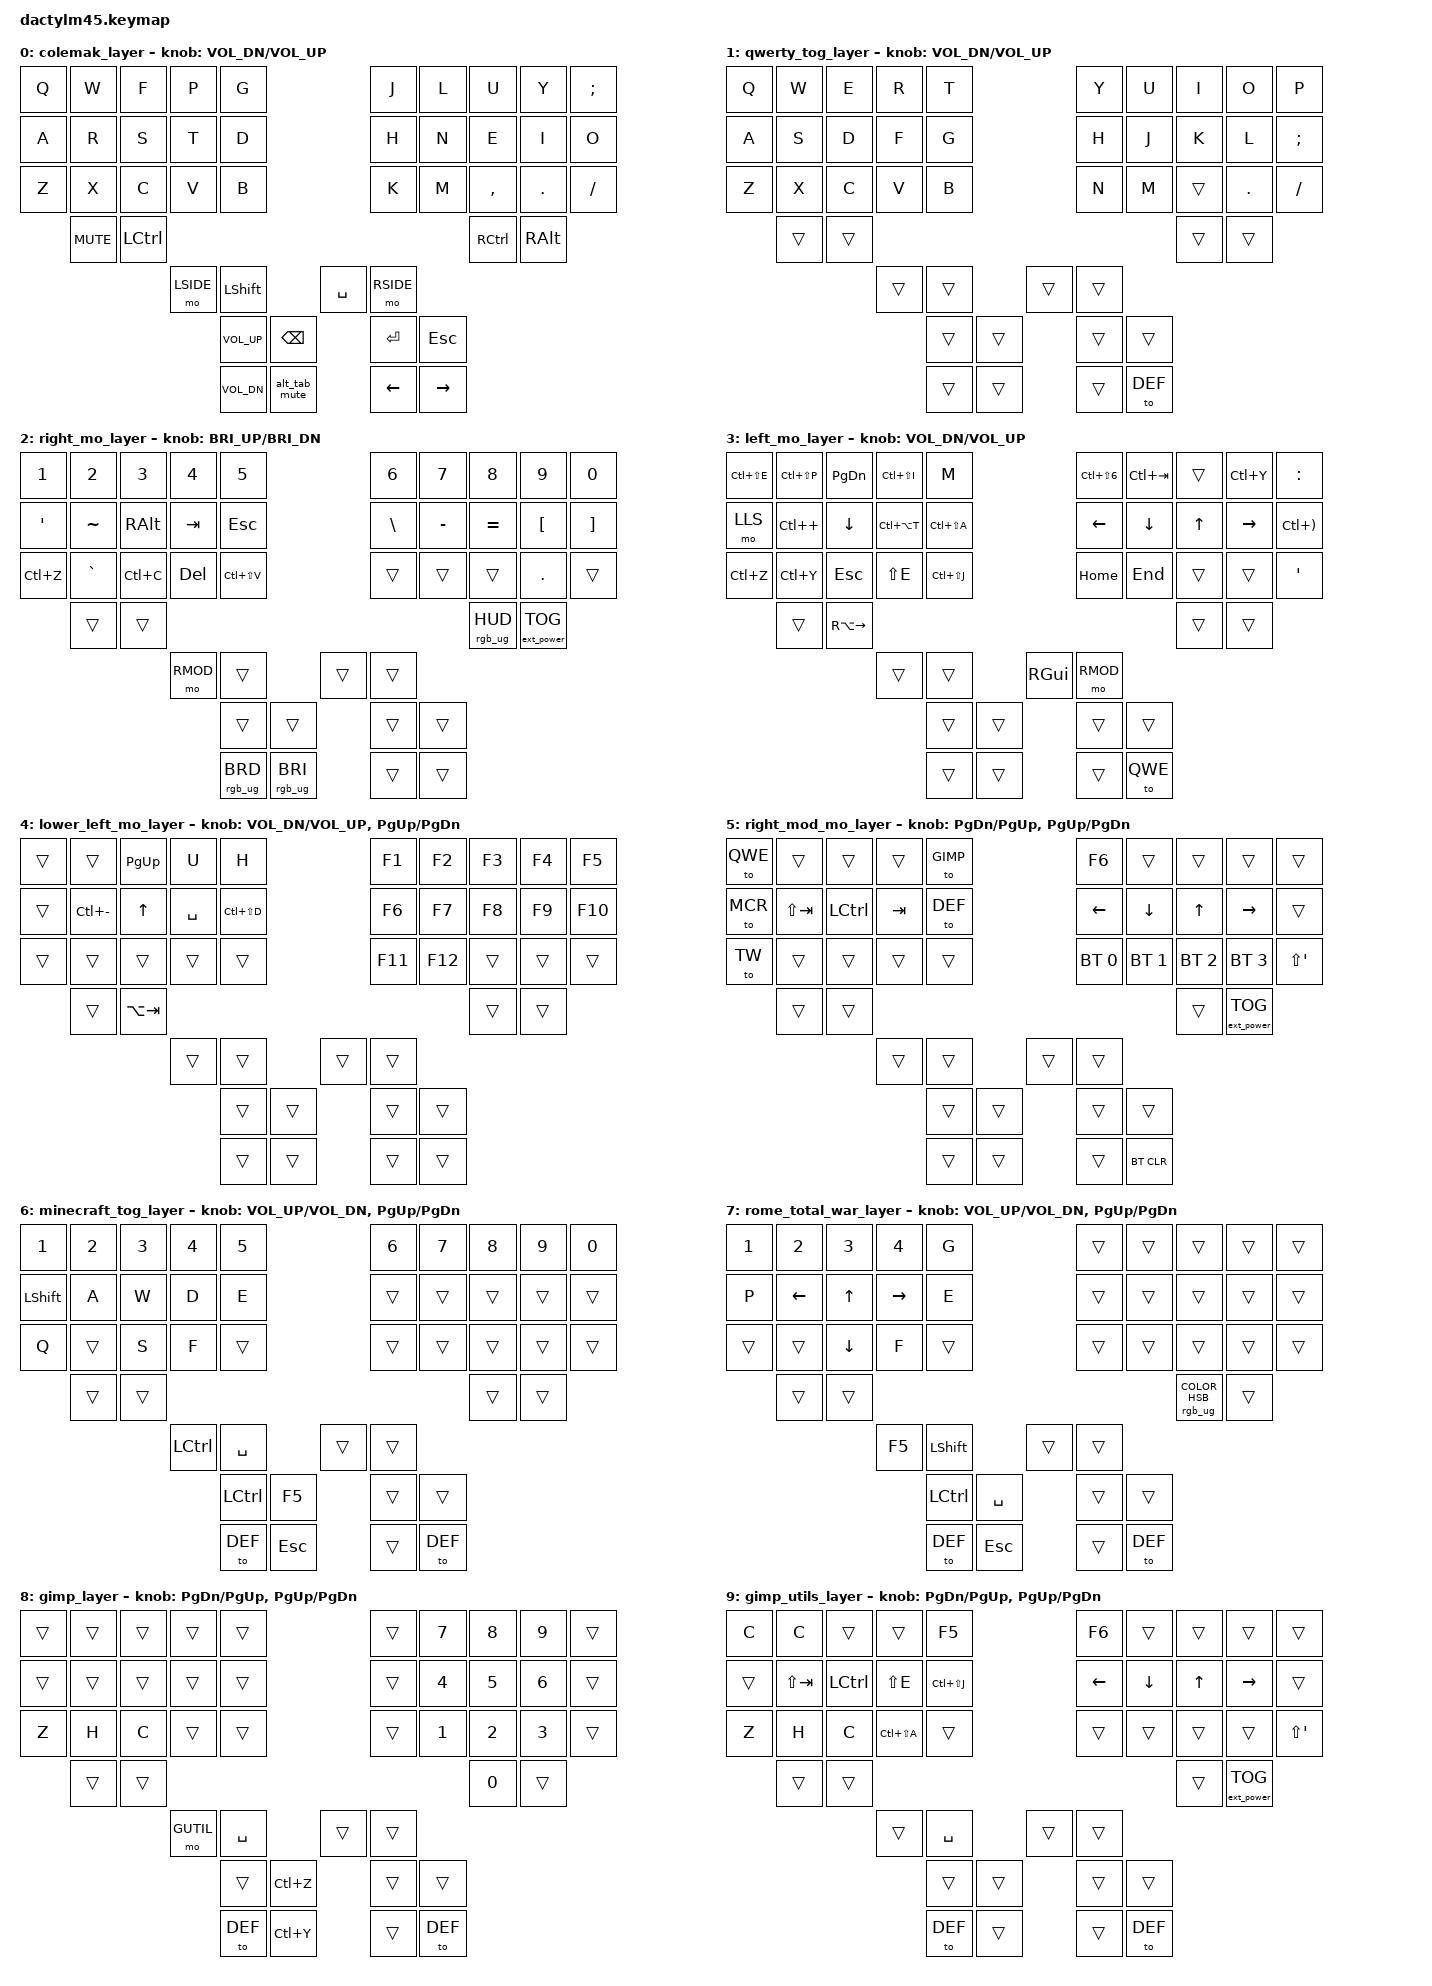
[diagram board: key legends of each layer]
/*
 * Copyright (c) 2020 The ZMK Contributors
 *
 * SPDX-License-Identifier: MIT
 * 
 * F5 refreshes window, F6 goes to URL, F11 full screen
 */

#include <behaviors.dtsi>
#include <dt-bindings/zmk/keys.h>
#include <dt-bindings/zmk/bt.h>
#include <dt-bindings/zmk/rgb.h>
#include <dt-bindings/zmk/ext_power.h>

//&kscan0 {
//  debounce-press-ms = <10>;
//  debounce-release-ms = <5>;
//};

#define DEF     0  // Line 61
#define QWE     1  // Line 83
#define RSIDE   2  // Line 105 
#define LSIDE   3  // Line 128
#define LLS     4  // Line 154
#define RMOD    5  // Line 176  access QWER, MCR, GIMP, WM here
#define MCR     6  // Line 198 
#define TW      7  // Line 220 Rome: Total war keys layer
#define GIMP    8  // Line 243
#define GUTIL   9  // Line 268

// combos Line 244
//#define QWER    2  // Line 84

//&lt { tapping-term-ms = <85>; };
//&mt { tapping-term-ms = <85>; };

/ {
  macros {
    alt_tab_mute: alt_tab_mute {
      compatible = "zmk,behavior-macro";
      #binding-cells = <0>;
      bindings
          = <&macro_tap &kp RA(TAB)>
          , <&macro_tap &kp C_MUTE>
          ;
    };
  };
};

/ {
// ----------------------------------------------------------------------------------------------------------------------------------
// |   0  |   1  |   2  |   3  |   4  |                                     |   5  |   6  |   7  |   8  |   9  |
// |  10  |  11  |  12  |  13  |  14  |                                     |  15  |  16  |  17  |  18  |  19  |
// |  20  |  21  |  22  |  23  |  24  |                                     |  25  |  26  |  27  |  28  |  29  |
//        |  30  |  31  |                                                                 |  32  |  33  |                          
//                      |  34  |  35  |                                     |  36  |  37  |                                            
//                                    |  38  |  39  |         |  40  |  41  |                                                         
//                                    |  42  |  43  |         |  44  |  45  |                                         

	keymap {
		compatible = "zmk,keymap";

		colemak_layer {
// ---------------------------------------------------------------------------------------------------------------------------------
// |  Q  |  W  |  F  |  P  |  G  |                                            |  J  |  L   |  U   |  Y  |  ;  |
// |  A  |  R  |  S  |  T  |  D  |                                            |  H  |  N   |  E   |  I  |  O  |
// |  Z  |  X  |  C  |  V  |  B  |                                            |  K  |  M   |  ,   |  .  |  /  |
//       | MUTE| CTRL|                                                                   | CTRL | RALT|
//                    | LSIDE | SHIFT |                                       | SPACE| RSIDE |
//                                   | VOL UP |  BSPC  |           | RET    |    ESC   |
//                                   | VOL DN | A(TAB) |           | LARROW |  RARROW  |
			bindings = <
	&kp Q &kp W      &kp F     &kp P      &kp G                               &kp J     &kp L    &kp U      &kp Y   &kp SEMI
	&kp A &kp R      &kp S     &kp T      &kp D                               &kp H     &kp N    &kp E      &kp I   &kp O   
	&kp Z &kp X      &kp C     &kp V      &kp B                               &kp K     &kp M    &kp COMMA  &kp DOT &kp FSLH 
        &kp C_MUTE &kp LCTRL                                                                   &kp RCTRL  &kp RALT
                            &mo LSIDE   &kp LSHFT                    &kp SPACE &mo RSIDE  
                                      &kp C_VOL_UP   &kp BSPC        &kp RET          &kp ESC 
                                      &kp C_VOL_DN   &alt_tab_mute   &kp LEFT_ARROW  &kp RIGHT_ARROW
			>;

			sensor-bindings = <&inc_dec_kp C_VOL_DN C_VOL_UP>;
		};

		qwerty_tog_layer {
// ---------------------------------------------------------------------------------------------------------------------------------
// |  Q  |  W  |  E   |  R   |  T   |                                          |  Y   |  U    |  I    |  O   |   P   |  
// |  A  |  S  |  D   |  F   |  G   |                                          |  H   |  J    |  K    |  L   |   ;   | 
// |  Z  |  X  |  C   |  V   |  B   |                                          |  N   |  M    |  ,    |  .   |   /   |
//       |     |      |                                                                       |       |      |
//                    |      |      |                                          |      |       |
//                                  |     |     |               |     |         |
//                                  |     |     |               |     |   DEF   |
			bindings = <
	&kp Q &kp W   &kp E  &kp R  &kp T                                         &kp Y  &kp U  &kp I    &kp O   &kp P   
	&kp A &kp S   &kp D  &kp F  &kp G                                         &kp H  &kp J  &kp K    &kp L   &kp SEMI
	&kp Z &kp X   &kp C  &kp V  &kp B                                         &kp N  &kp M  &trans   &kp DOT &kp FSLH
	      &trans  &trans                                                                    &trans   &trans
                       &trans &trans                                        &trans &trans
                                     &trans  &trans          &trans   &trans
                                     &trans  &trans          &trans   &to DEF
			>;

			sensor-bindings = <&inc_dec_kp C_VOL_DN C_VOL_UP>;
		};

		right_mo_layer {
// C(T), C(W), CA(V) --> open browser tab, close tab, paste
// ---------------------------------------------------------------------------------------------------------------------------------
// |  1  |  2  |  3   |    4   |  5   |                                          |  6   |  7    |  8    |  9   |   0   |      
// |  '  |  ~  | ALT  |   TAB  | ESC  |                                          |  \   |  -    |  =    |  [   |   ]   |      
// | C(Z)|  `  | C(C) |   DEL  | CA(V)|                                          |      |       |       |  .   |   /   |      
//       |     | HUD  |                                                                         |       |      |
//                    |  RMOD  |      |                                          |      |       |
//                                  |       |     |                  |     |     |
//                                  |  BRD  | BRI |                  |     |     |
			bindings = <
	&kp N1      &kp N2     &kp N3    &kp N4   &kp N5                                          &kp N6    &kp N7      &kp N8    &kp N9    &kp N0  
	&kp SQT     &kp TILDE  &kp RALT  &kp TAB  &kp ESC                                         &kp BSLH  &kp MINUS   &kp EQUAL &kp LBKT  &kp RBKT
	&kp LC(Z)   &kp GRAVE  &kp LC(C) &kp DEL  &kp LC(LS(V))                                   &trans    &trans      &trans    &kp DOT   &trans
	            &trans     &trans                                                                                   &rgb_ug RGB_HUD  &ext_power EP_TOG
                                   &mo RMOD  &trans                                          &trans   &trans
                                              &trans           &trans             &trans  &trans 
                                              &rgb_ug RGB_BRD  &rgb_ug RGB_BRI    &trans  &trans
			>;

			sensor-bindings = <&inc_dec_kp C_BRI_UP C_BRI_DN>;
		};

		left_mo_layer {
// CS(E), CS(P), CS(A),  C(Z), C(Y)  --> xournal++ ==> Erasure, Pen, Hand, Undo, Redo
//  S(E), CS(J), CS(A), CS(D), C(Z), C(Y)) --> GIMP ==> Erasure, window, Select None, doc layer, Undo, Redo
// CA(T),  C()), CS(I) --> new console, split horizontal console, open browser dev tools
// CS(6) --> NERDTree ==> traverse windows
// ---------------------------------------------------------------------------------------------------------------------------------
// | CS(E) | CS(P) | PGDN |CS(I) |  M    |                                          | CS(6) | C(TAB)|       | C(Y) | COLON |   
// | LLS   | C(+)  |  DN  |CA(T) | CS(A) |                                          | LARROW| DOWN  |  UP   |RARROW| C())  |  
// |  C(Z) |  C(Y) | ESC  | S(E) | CS(J) |                                          |  HOME |  END  |       |      |  SQT  | 
//         |       |A(-->)|                                                                         |       |    |
//                        |      |       |                                          |  GUI  |  RMOD |
//                                       |     |       |                |      |    |
//                                       |     |       |                |      | QWE|
			bindings = <
	&kp LC(LS(E)) &kp LC(LS(P)) &kp PG_DN  &kp LC(LS(I)) &kp M                                       &kp LC(LS(N6)) &kp LC(TAB) &trans  &kp LC(Y)       &kp COLON      
	&mo LLS       &kp LC(PLUS)  &kp DOWN   &kp LC(LA(T)) &kp LC(LS(A))                               &kp LEFT_ARROW &kp DOWN    &kp UP  &kp RIGHT_ARROW &kp LC(RPAR)
  &kp LC(Z)     &kp LC(Y)     &kp ESC    &kp LS(E)     &kp LC(LS(J))                               &kp HOME       &kp END     &trans  &trans          &kp SQT       
                &trans        &kp RA(RIGHT)                                                                                   &trans  &trans
                                    &trans        &trans                                      &kp RGUI         &mo RMOD
                                                         &trans &trans       &trans   &trans 
                                                         &trans &trans       &trans   &to QWE
			>;

			sensor-bindings = <&inc_dec_kp C_VOL_DN C_VOL_UP>;
		};

		lower_left_mo_layer {
// ---------------------------------------------------------------------------------------------------------------------------------
// |       |       | PGUP |  U   |  H    |                                          |  F1   |  F2   |  F3   |  F4  |  F5   |   
// |       | C(-)  |  UP  | SPACE| CS(D) |                                          |  F6   |  F7   |  F8   |  F9  |  F10  |  
// |       |       |      |      |       |                                          |  F11  |  F12  |       |      |       | 
//         |       |A(TAB)|                                                                         |       |    |
//                        |      |       |                                          |       |       |
//                                       |     |       |                |      |    |
//                                       |     |       |                |      |    |
			bindings = <
	&trans  &trans        &kp PG_UP  &kp U     &kp H                                &kp F1  &kp F2    &kp F3     &kp F4  &kp F5      
	&trans  &kp LC(MINUS) &kp UP     &kp SPACE &kp LC(LS(D))                        &kp F6  &kp F7    &kp F8     &kp F9  &kp F10
  &trans  &trans        &trans     &trans    &trans                               &kp F11 &kp F12   &trans     &trans  &trans       
          &trans        &kp LA(TAB)                                                         &trans &trans
                              &trans        &trans                                      &trans     &trans
                                                &trans &trans       &trans   &trans 
                                                &trans &trans       &trans   &trans
			>;

			sensor-bindings = <&inc_dec_kp C_VOL_DN C_VOL_UP &inc_dec_kp PG_UP PG_DN>;
		};

		right_mod_mo_layer {
// ---------------------------------------------------------------------------------------------------------------------------------
// | QWE |       |      |      | GIMP |                                          |  F6  |       |       |      |       |      
// | MCR |LS(TAB)| CTL  | TAB  | DEF  |                                          |LARROW|  DN   |  UP   |RARROW|       |       
// | TW  |       |      |      |      |                                          |  BT0 |  BT1  |  BT2  |  BT3 |   "   |      
//       |       |      |                                                                       |       |  PWR |
//                      |      |      |                                          |      |       |
//                                    |       |      |               |     |     |
//                                    |       |      |               |     | BTC |
			bindings = <
	&to QWE   &trans      &trans    &trans   &to GIMP                                       &kp F6         &trans       &trans        &trans          &trans  
	&to MCR   &kp LS(TAB) &kp LCTRL &kp TAB  &to DEF                                        &kp LEFT_ARROW &kp DOWN     &kp UP        &kp RIGHT_ARROW &trans
  &to TW    &trans      &trans    &trans   &trans                                         &bt BT_SEL 0   &bt BT_SEL 1 &bt BT_SEL 2  &bt BT_SEL 3    &kp LS(SQT)
	          &trans      &trans                                                                                        &trans    &ext_power EP_TOG
                                         &trans   &trans                                  &trans   &trans
                                           &trans           &trans             &trans  &trans 
                                           &trans           &trans             &trans  &bt BT_CLR
			>;

			sensor-bindings = <&inc_dec_kp PG_DN PG_UP &inc_dec_kp PG_UP PG_DN>;
		};

		minecraft_tog_layer {
// ---------------------------------------------------------------------------------------------------------------------------------
// |  1  |  2  |  3   |  4   |  5   |                                          |   6  |   7   |   8   |  9   |   0   |
// |SHFT |  A  |  W   |  D   |  E   |                                          |      |       |       |      |       |
// |  Q  |     |  S   |  F   |      |                                          |      |       |       |      |       |
//       |     |      |                                                                       |       |      |
//                    | CTRL | SPACE|                                          |      |       |
//                                  |SHFT|   F5  |               |       |    |
//                                  | DEF|  ESC  |               |       | DEF|
			bindings = <
	&kp N1    &kp N2  &kp N3 &kp N4 &kp N5                                             &kp N6 &kp N7 &kp N8 &kp N9 &kp N0
	&kp LSHFT &kp A   &kp W  &kp D  &kp E                                              &trans &trans &trans &trans &trans
  &kp Q     &trans  &kp S  &kp F  &trans                                             &trans &trans &trans &trans &trans
	          &trans  &trans                                                                         &trans &trans
                        &kp LCTRL &kp SPACE                                         &trans &trans 
                                          &kp LCTRL  &kp F5         &trans  &trans
                                          &to DEF    &kp ESC        &trans  &to DEF
			>;

			sensor-bindings = <&inc_dec_kp C_VOL_UP C_VOL_DN &inc_dec_kp PG_UP PG_DN>;
		};

		rome_total_war_layer {
// ---------------------------------------------------------------------------------------------------------------------------------
// |  1  |  2  |  3   |  4   |  G   |                                          |      |       |       |      |       |
// |  P  | <-- |  UP  | -->  |  E   |                                          |      |       |       |      |       |
// |     |     | DOWN |  F   |      |                                          |      |       |       |      |       |
//       |     |      |                                                                       | GREEN |      |
//                    |  F5  | LSHFT|                                          |      |       |
//                                  |CTRL| SPACE |               |       |    |
//                                  | DEF|  ESC  |               |       | DEF|
			bindings = <
	&kp N1 &kp N2         &kp N3    &kp N4           &kp G                                              &trans &trans &trans                            &trans &trans
	&kp P  &kp LEFT_ARROW &kp UP    &kp RIGHT_ARROW  &kp E                                              &trans &trans &trans                            &trans &trans
  &trans &trans         &kp DOWN  &kp F            &trans                                             &trans &trans &trans                            &trans &trans
	       &trans &trans                                                                         &rgb_ug RGB_COLOR_HSB(120,100,10) &trans
                        &kp F5 &kp LSHFT                                         &trans &trans 
                                          &kp LCTRL  &kp SPACE      &trans  &trans
                                          &to DEF    &kp ESC        &trans  &to DEF
			>;

			sensor-bindings = <&inc_dec_kp C_VOL_UP C_VOL_DN &inc_dec_kp PG_UP PG_DN>;
		};

		gimp_layer {
//  S(E), CS(J), CS(A), CS(D), C(Z), C(Y)) ==> Erasure, window, Select None, doc layer, Undo, Redo
//  Z, H, C ==> Zoom, Heal, Clone
// ---------------------------------------------------------------------------------------------------------------------------------
// |     |       |      |      |      |                                          |      |   7   |   8   |  9  |       |      
// |     |       |      |      |      |                                          |      |   4   |   5   |  6  |       |       
// |  Z  |  H    |  C   |      |      |      |                                   |      |   1   |   2   |  3  |       |         
//       |       |      |                                                                       |   0   |     |
//                      |      | SPACE|                                          |      |       |
//                                    |       |CS(Z) |               |     |     |
//                                    |  DEF  |CS(Y) |               |     | DEF |
			bindings = <
	&trans  &trans      &trans    &trans        &trans                                         &trans         &kp N7       &kp N8        &kp N9          &trans  
	&trans  &trans      &trans    &trans        &trans                                         &trans         &kp N4       &kp N5        &kp N6          &trans
  &kp Z   &kp H       &kp C     &trans        &trans                                         &trans         &kp N1       &kp N2        &kp N3          &trans
	          &trans      &trans                                                                                        &kp N0    &trans 
                                         &mo GUTIL   &kp SPACE                            &trans   &trans
                                           &trans    &kp LC(Z)                    &trans  &trans 
                                           &to DEF          &kp LC(Y)             &trans  &to DEF
			>;

			sensor-bindings = <&inc_dec_kp PG_DN PG_UP &inc_dec_kp PG_UP PG_DN>;
		};

		gimp_utils_layer {
//  S(E), CS(J), CS(A), CS(D), C(Z), C(Y)) ==> Erasure, window, Select None, doc layer, Undo, Redo
//  Z, H, C ==> Zoom, Heal, Clone
// ---------------------------------------------------------------------------------------------------------------------------------
// | C   | C     |      |      | F5   |                                          |  F6  |       |       |      |       |      
// |     |LS(TAB)| CTL  | S(E) | CS(J)|                                          |LARROW|  DN   |  UP   |RARROW|       |       
// |  Z  |  H    |  C   | CS(A)|      |      |                                   |      |       |       |      |       |   "   |      
//       |       |      |                                                                       |       |  PWR |
//                      |      | SPACE|                                          |      |       |
//                                    |       |      |               |     |     |
//                                    |  DEF  |      |               |     | DEF |
			bindings = <
	&kp C      &kp C       &trans    &trans        &kp F5                                         &kp F6         &trans       &trans        &trans          &trans  
	&trans     &kp LS(TAB) &kp LCTRL &kp LS(E)     &kp LC(LS(J))                                  &kp LEFT_ARROW &kp DOWN     &kp UP        &kp RIGHT_ARROW &trans
  &kp Z      &kp H       &kp C     &kp LC(LS(A)) &trans                                         &trans         &trans       &trans        &trans          &kp LS(SQT)
	          &trans      &trans                                                                                        &trans    &ext_power EP_TOG
                                         &trans   &kp SPACE                            &trans   &trans
                                           &trans           &trans             &trans  &trans 
                                           &to DEF          &trans             &trans  &to DEF
			>;

			sensor-bindings = <&inc_dec_kp PG_DN PG_UP &inc_dec_kp PG_UP PG_DN>;
		};


  };

//  combos {
//    compatible = "zmk,combos";
//
//    combos_shift_sqt {
//      timeout-ms = <50>;
//      key-positions = <20 37>;
//      bindings = <&kp LS(SQT)>;
//    };
//  };
};
